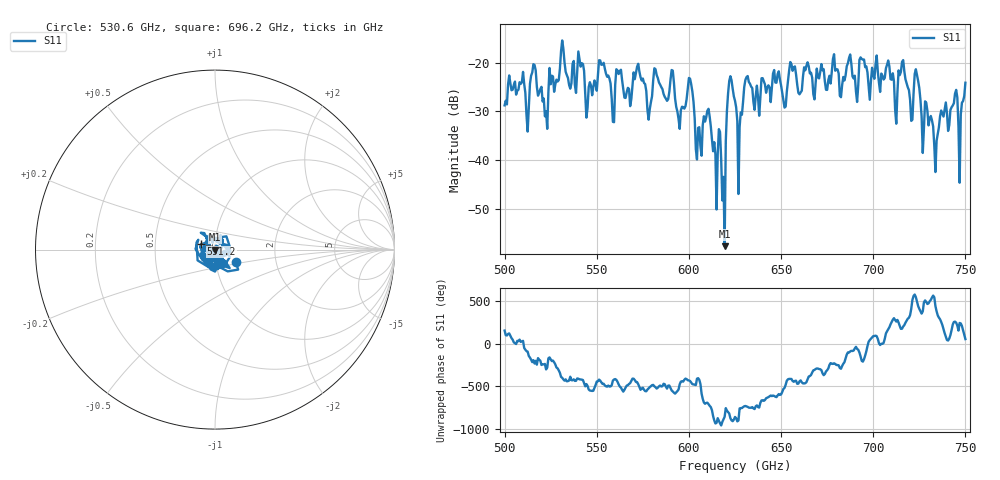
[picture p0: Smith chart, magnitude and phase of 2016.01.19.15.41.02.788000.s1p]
!Created with skrf (http://scikit-rf.org).
# GHz S RI R 50.0
!freq ReS11 ImS11
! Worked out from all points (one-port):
!   401 points, 500 GHz to 750 GHz, reference 50 ohm
!   lowest |S11| = -57.8 dB at 619.4 GHz (marker M1), VSWR 1.00, Z = 49.9 - j0.0815 ohm
!   |S11| at or under -10 dB: start of sweep to end of sweep
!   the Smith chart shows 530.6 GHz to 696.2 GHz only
!   S11 on the Smith chart (normalised r, x): 530.6 GHz: 1.25, -0.17; 591.2 GHz: 0.86, +0.05; 696.2 GHz: 0.99, -0.18
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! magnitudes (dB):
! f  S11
! 500 GHz  -28.7
! 512.5 GHz  -34.1
! 515.6 GHz  -20.3
! 521.9 GHz  -31.0
! 530.6 GHz  -17.6
! 531.2 GHz  -15.4
! 545 GHz  -29.2
! 562.5 GHz  -21.7
! 578.8 GHz  -29.5
! 591.2 GHz  -21.6
! 593.8 GHz  -30.0
! 600.6 GHz  -23.2
! 605 GHz  -33.4
! 610.6 GHz  -29.4
! 619.4 GHz  -57.8
! 621.9 GHz  -23.7
! 625 GHz  -27.8
! 627.5 GHz  -33.2
! 631.2 GHz  -22.9
! 651.9 GHz  -29.2
! 656.2 GHz  -21.6
! 687.5 GHz  -18.3
! 696.2 GHz  -20.7
! 718.8 GHz  -25.0
! 723.8 GHz  -22.5
! 734.4 GHz  -36.0
! 747.5 GHz  -30.6
! 750 GHz  -24.1
